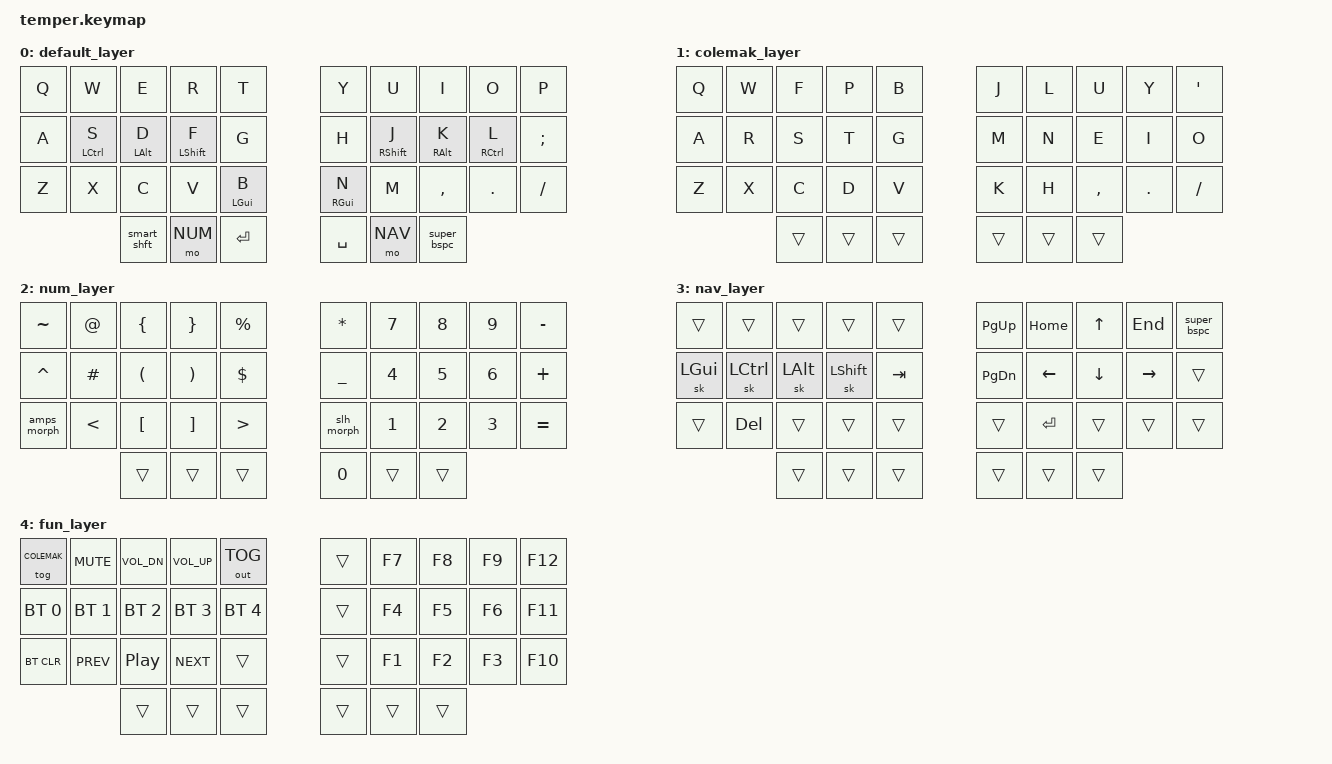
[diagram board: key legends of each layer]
/*
 * Copyright (c) 2020 The ZMK Contributors
 *
 * SPDX-License-Identifier: MIT
 */

#include <behaviors.dtsi>
//#include <dt-bindings/zmk/keys.h>
#include <dt-bindings/zmk/bt.h>
#include <dt-bindings/zmk/outputs.h>

#define DEFAULT 0
#define COLEMAK 1
#define NUM 2
#define NAV 3
#define FUN 4

/*  
 * bunch of Defs from urob's timeless Homerow Mods
 * https://github.com/urob/zmk-config/blob/main/config/base.keymap
*/

#define QUICK_TAP_MS 175

&sk {
  release-after-ms = <900>;
  quick-release;
};

&sl { // Allow sticky mods to chord across sticky layers.
  ignore-modifiers;
};

&lt {
  flavor = "balanced";
  tapping-term-ms = <200>;
  quick-tap-ms = <QUICK_TAP_MS>;
};

/* Homerow mods 

Urob defines these pointers in external files. To get this to compile, 
I had to remove all of his references and define them as ZMK keys.
*/

#include "key-labels36.h"     
#define KEYS_L LT0 LT1 LT2 LT3 LT4 LM0 LM1 LM2 LM3 LM4 LB0 LB1 LB2 LB3 LB4
#define KEYS_R RT0 RT1 RT2 RT3 RT4 RM0 RM1 RM2 RM3 RM4 RB0 RB1 RB2 RB3 RB4
#define THUMBS LH2 LH1 LH0 RH0 RH1 RH2 // Thumbs on 36+ keys.

#define MAKE_HRM(NAME, HOLD, TAP, TRIGGER_POS)                                 \
  ZMK_HOLD_TAP(NAME, bindings = <HOLD>, <TAP>; flavor = "balanced";            \
               tapping-term-ms = <280>; quick-tap-ms = <QUICK_TAP_MS>;         \
               require-prior-idle-ms = <150>; hold-trigger-on-release;         \
               hold-trigger-key-positions = <TRIGGER_POS>;)

//MAKE_HRM(hml, &kp, &kp, KEYS_R THUMBS) // Left-hand HRMs.
//MAKE_HRM(hmr, &kp, &kp, KEYS_L THUMBS) // Right-hand HRMs.

// Hack: Make HRM combos tap-only (cf, ZMK issue #544).
// #define ZMK_COMBO_8(NAME, TAP, POS, LAYERS, COMBO_MS, IDLE_MS, HOLD, SIDE)     \
//  MAKE_HRM(hm_combo_##NAME, &kp, TAP, SIDE THUMBS)                             \
//  ZMK_COMBO_6(NAME, &hm_combo_##NAME HOLD 0, POS, LAYERS, COMBO_MS, IDLE_MS)

/* Combos, leader key sequences, mouse emulation */

// #include "combos.dtsi" // Must be sourced after HRM-combo hack.
// #include "leader.dtsi"
// #include "mouse.dtsi"

/*  End of urob insert  */

/ {
    combos {
        compatible = "zmk,combos";
        combo_esc {
            timeout-ms = <50>;
            key-positions = <0 1>;
            bindings = <&kp ESC>;
        };
        compatible = "zmk,combos";
        combo_capslock {
            timeout-ms = <50>;
            key-positions = <13 16>;
            bindings = <&kp CAPS>;
        };
        compatible = "zmk,combos";
        combo_capsword {
            timeout-ms = <50>;
            key-positions = <14 15>;
            bindings = <&caps_word>;
        };
        compatible = "zmk,combos";
        combo_alt-prtscn {
            timeout-ms = <50>;
            key-positions = <4 5>;
            bindings = <&kp LA(PSCRN)>;
        };
        compatible = "zmk,combos";
        combo_go-home {
            timeout-ms = <50>;
            key-positions = <0 9>;
            bindings = <&to 0>;
        };
    };
};

/ {
    conditional_layers {
        compatible = "zmk,conditional-layers";
        tri_layer {
            if-layers = <NUM NAV>;
            then-layer = <FUN>;
        };
    };
    behaviors {
        bspc_del: backspace_delete {
            compatible = "zmk,behavior-mod-morph";
            #binding-cells = <0>;
            bindings = <&kp BACKSPACE>, <&kp DELETE>;
            mods = <(MOD_LSFT|MOD_RSFT)>;
            keep-mods = <(MOD_RSFT)>;
        };
        super_bspc: super_backspace {
            compatible = "zmk,behavior-mod-morph";
            #binding-cells = <0>;
            bindings = <&kp BACKSPACE>, <&kp LA(BACKSPACE)>;
            mods = <(MOD_LSFT|MOD_RSFT)>;
        };
        smart_shft: smart_shift {
            compatible = "zmk,behavior-mod-morph";
            #binding-cells = <0>;
            bindings = <&kp LSHFT>, <&caps_word>;
            mods = <(MOD_LSFT)>;
        };
        comma_semi: comma_semi {
            compatible = "zmk,behavior-mod-morph";
            #binding-cells = <0>;
            bindings = <&kp COMMA>, <&kp SEMI>;
            mods = <(MOD_LSFT)>;
        };
        dot_colon: dot_colon {
            compatible = "zmk,behavior-mod-morph";
            #binding-cells = <0>;
            bindings = <&kp DOT>, <&kp COLON>;
            mods = <(MOD_LSFT)>;
        };
        qmrk_excl: qmrk_excl {
            compatible = "zmk,behavior-mod-morph";
            #binding-cells = <0>;
            bindings = <&kp QMARK>, <&kp EXCL>;
            mods = <(MOD_LSFT)>;
        };
        slh_morph: slh_morph {
            compatible = "zmk,behavior-mod-morph";
            #binding-cells = <0>;
            bindings = <&kp FSLH>, <&kp BSLH>;
            mods = <(MOD_LSFT)>;
        };
        amps_morph: amps_morph {
            compatible = "zmk,behavior-mod-morph";
            #binding-cells = <0>;
            bindings = <&kp AMPS>, <&kp PIPE>;
            mods = <(MOD_LSFT)>;
        };
// CoPilot said to put the hml definitions in here:

        hml: hml {
            compatible = "zmk,behavior-hold-tap";
            #binding-cells = <2>;
            flavor = "balanced";
            tapping-term-ms = <280>;
            quick-tap-ms = <175>;
            require-prior-idle-ms = <150>;
            hold-trigger-on-release;
//   CoPilot says no
//    Try putting these back in now that I've included the key-labels reference
          hold-trigger-key-positions = <RT0 RT1 RT2 RT3 RT4 RM0 RM1 RM2 RM3 RM4 RB0 RB1 RB2 RB3 RB4 RH0 RH1 RH2>;

// This is my hack to make it compile: need to check the definitions.
// Removed again post-key-labels
//            hold-trigger-key-positions = <0 1 2 3 4 5 6 7 8 9 10 11 12 13 14 15 16 17>;
            bindings = <&kp>, <&kp>;
        };
        
        hmr: hmr {
            compatible = "zmk,behavior-hold-tap";
            #binding-cells = <2>;
            flavor = "balanced";
            tapping-term-ms = <280>;
            quick-tap-ms = <175>;
            require-prior-idle-ms = <150>;
            hold-trigger-on-release;
        //  CoPilot says this is shit
          hold-trigger-key-positions = <LT0 LT1 LT2 LT3 LT4 LM0 LM1 LM2 LM3 LM4 LB0 LB1 LB2 LB3 LB4 LH0 LH1 LH2>;
        //    hold-trigger-key-positions = <0 1 2 3 4 5 6 7 8 9 10 11 12 13 14 15 16 17>;
            bindings = <&kp>, <&kp>;
        };
    
    };
        keymap {
                compatible = "zmk,keymap";

                default_layer {
                        bindings = <
// ╭─────────────┬─────────────┬─────────────┬─────────────┬─────────────╮   ╭─────────────┬─────────────┬─────────────┬─────────────┬─────────────╮
        &kp Q         &kp W         &kp E         &kp R         &kp T              &kp Y        &kp U         &kp I         &kp O         &kp P   
// ├─────────────┼─────────────┼─────────────┼─────────────┼─────────────┤   ├─────────────┼─────────────┼─────────────┼─────────────┼─────────────┤
        &kp A      &hml LCTRL S  &hml LALT D   &hml LSHFT F       &kp G              &kp H   &hml RSHFT J   &hml RALT K  &hml RCTRL L     &kp SEMI
// ├─────────────┼─────────────┼─────────────┼─────────────┼─────────────┤   ├─────────────┼─────────────┼─────────────┼─────────────┼─────────────┤
        &kp Z         &kp X         &kp C         &kp V      &hml LGUI B       &hml RGUI N      &kp M       &kp COMMA      &kp DOT      &kp FSLH
// ╰─────────────┴─────────────┼─────────────┼─────────────┼─────────────┤   ├─────────────┼─────────────┼─────────────┼─────────────┴─────────────╯
                                 &smart_shft      &mo NUM       &kp RET          &kp SPACE      &mo NAV     &super_bspc
//                             ╰─────────────┴─────────────┴─────────────╯   ╰─────────────┴─────────────┴─────────────╯
                        >;
                };
                colemak_layer {
                        bindings = <
// ╭─────────────┬─────────────┬─────────────┬─────────────┬─────────────╮   ╭─────────────┬─────────────┬─────────────┬─────────────┬─────────────╮
        &kp Q         &kp W         &kp F         &kp P         &kp B              &kp J        &kp L         &kp U         &kp Y         &kp APOS   
// ├─────────────┼─────────────┼─────────────┼─────────────┼─────────────┤   ├─────────────┼─────────────┼─────────────┼─────────────┼─────────────┤
        &kp A         &kp R         &kp S         &kp T         &kp G              &kp M        &kp N         &kp E         &kp I       &kp O
// ├─────────────┼─────────────┼─────────────┼─────────────┼─────────────┤   ├─────────────┼─────────────┼─────────────┼─────────────┼─────────────┤
        &kp Z         &kp X         &kp C         &kp D         &kp V             &kp K        &kp H       &kp COMMA      &kp DOT      &kp FSLH
// ╰─────────────┴─────────────┼─────────────┼─────────────┼─────────────┤   ├─────────────┼─────────────┼─────────────┼─────────────┴─────────────╯
                                    &trans        &trans        &trans             &trans       &trans        &trans
//                             ╰─────────────┴─────────────┴─────────────╯   ╰─────────────┴─────────────┴─────────────╯

                        >;
                };
                num_layer {
                        bindings = <
// ╭─────────────┬─────────────┬─────────────┬─────────────┬─────────────╮   ╭─────────────┬─────────────┬─────────────┬─────────────┬─────────────╮
      &kp TILDE       &kp AT       &kp LBRC      &kp RBRC     &kp PRCNT          &kp STAR       &kp N7        &kp N8        &kp N9      &kp MINUS
// ├─────────────┼─────────────┼─────────────┼─────────────┼─────────────┤   ├─────────────┼─────────────┼─────────────┼─────────────┼─────────────┤
      &kp CARET      &kp HASH      &kp LPAR      &kp RPAR      &kp DLLR         &kp UNDER       &kp N4        &kp N5        &kp N6      &kp PLUS
// ├─────────────┼─────────────┼─────────────┼─────────────┼─────────────┤   ├─────────────┼─────────────┼─────────────┼─────────────┼─────────────┤
      &amps_morph     &kp LT       &kp LBKT      &kp RBKT       &kp GT          &slh_morph      &kp N1        &kp N2        &kp N3      &kp EQUAL
// ╰─────────────┴─────────────┼─────────────┼─────────────┼─────────────┤   ├─────────────┼─────────────┼─────────────┼─────────────┴─────────────╯
                                    &trans        &trans        &trans            &kp N0        &trans        &trans
//                             ╰─────────────┴─────────────┴─────────────╯   ╰─────────────┴─────────────┴─────────────╯
                        >;
                };

                nav_layer {
                        bindings = <
// ╭─────────────┬─────────────┬─────────────┬─────────────┬─────────────╮   ╭─────────────┬─────────────┬─────────────┬─────────────┬─────────────╮
        &trans        &trans        &trans        &trans        &trans          &kp PG_UP     &kp HOME       &kp UP        &kp END     &super_bspc
// ├─────────────┼─────────────┼─────────────┼─────────────┼─────────────┤   ├─────────────┼─────────────┼─────────────┼─────────────┼─────────────┤
       &sk LGUI     &sk LCTRL      &sk LALT      &sk LSHFT      &kp TAB         &kp PG_DN     &kp LEFT      &kp DOWN      &kp RIGHT       &trans
// ├─────────────┼─────────────┼─────────────┼─────────────┼─────────────┤   ├─────────────┼─────────────┼─────────────┼─────────────┼─────────────┤
        &trans       &kp DEL        &trans        &trans        &trans            &trans        &kp RET       &trans        &trans        &trans
// ╰─────────────┴─────────────┼─────────────┼─────────────┼─────────────┤   ├─────────────┼─────────────┼─────────────┼─────────────┴─────────────╯
                                    &trans        &trans        &trans            &trans        &trans        &trans
//                             ╰─────────────┴─────────────┴─────────────╯   ╰─────────────┴─────────────┴─────────────╯
                        >;
                };

                fun_layer {
                        bindings = <
// ╭─────────────┬─────────────┬─────────────┬─────────────┬─────────────╮   ╭─────────────┬─────────────┬─────────────┬─────────────┬─────────────╮
     &tog COLEMAK  &kp K_MUTE    &kp C_VOL_DN  &kp C_VOL_UP  &out OUT_TOG         &trans        &kp F7        &kp F8        &kp F9       &kp F12
// ├─────────────┼─────────────┼─────────────┼─────────────┼─────────────┤   ├─────────────┼─────────────┼─────────────┼─────────────┼─────────────┤
     &bt BT_SEL 0  &bt BT_SEL 1  &bt BT_SEL 2  &bt BT_SEL 3  &bt BT_SEL 4         &trans        &kp F4        &kp F5        &kp F6       &kp F11
// ├─────────────┼─────────────┼─────────────┼─────────────┼─────────────┤   ├─────────────┼─────────────┼─────────────┼─────────────┼─────────────┤
      &bt BT_CLR    &kp C_PREV     &kp C_PP     &kp C_NEXT      &trans            &trans        &kp F1        &kp F2        &kp F3       &kp F10
// ╰─────────────┴─────────────┼─────────────┼─────────────┼─────────────┤   ├─────────────┼─────────────┼─────────────┼─────────────┴─────────────╯
                                    &trans        &trans        &trans            &trans        &trans        &trans
//                             ╰─────────────┴─────────────┴─────────────╯   ╰─────────────┴─────────────┴─────────────╯
                        >;
                };
        };
};
